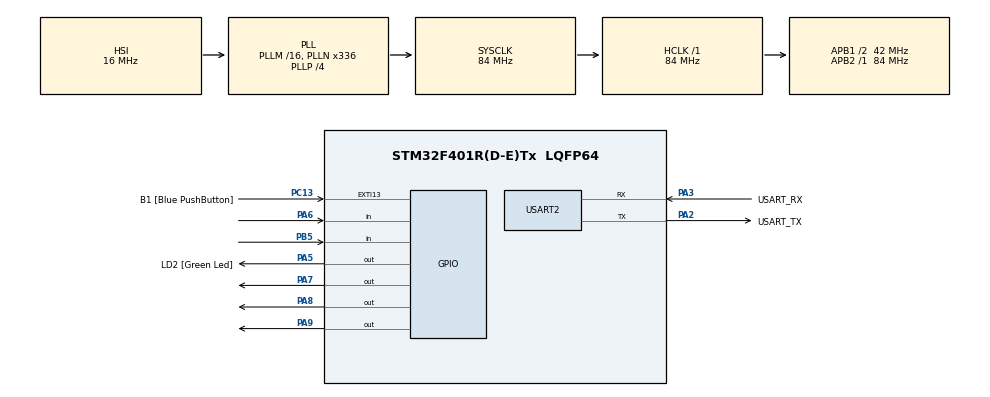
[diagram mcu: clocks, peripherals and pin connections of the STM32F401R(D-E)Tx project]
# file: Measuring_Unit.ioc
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FREERTOS.Queues01=accel_data,16,uint16_t,0,Dynamic,NULL,NULL
FREERTOS.Tasks01=read_accl,24,128,read_accl_function,Default,NULL,Dynamic,NULL,NULL;send_data,16,128,send_data_function,Default,NULL,Dynamic,NULL,NULL
Mcu.Family=STM32F4
Mcu.Name=STM32F401R(D-E)Tx
Mcu.Package=LQFP64
NVIC.PriorityGroup=NVIC_PRIORITYGROUP_4
NVIC.TIM5_IRQn=true\:15\:0\:false\:false\:true\:false\:false\:true\:true
NVIC.TimeBase=TIM5_IRQn
NVIC.TimeBaseIP=TIM5
PA13.GPIO_Label=TMS
PA13.Mode=Serial_Wire
PA13.Signal=SYS_JTMS-SWDIO
PA14.GPIO_Label=TCK
PA14.Mode=Serial_Wire
PA14.Signal=SYS_JTCK-SWCLK
PA2.GPIO_Label=USART_TX
PA2.GPIO_Mode=GPIO_MODE_AF_PP
PA2.GPIO_PuPd=GPIO_NOPULL
PA2.GPIO_Speed=GPIO_SPEED_FREQ_LOW
PA2.Mode=Asynchronous
PA2.Signal=USART2_TX
PA3.GPIO_Label=USART_RX
PA3.GPIO_Mode=GPIO_MODE_AF_PP
PA3.GPIO_PuPd=GPIO_NOPULL
PA3.GPIO_Speed=GPIO_SPEED_FREQ_LOW
PA3.Mode=Asynchronous
PA3.Signal=USART2_RX
PA5.GPIO_Label=LD2 [Green Led]
PA5.GPIO_Mode=GPIO_MODE_OUTPUT_PP
PA5.GPIO_PuPd=GPIO_NOPULL
PA5.GPIO_Speed=GPIO_SPEED_FREQ_LOW
PA5.Signal=GPIO_Output
PA6.Signal=GPIO_Input
PA7.Signal=GPIO_Output
PA8.GPIO_ModeDefaultOutputPP=GPIO_MODE_OUTPUT_OD
PA8.GPIO_PuPd=GPIO_NOPULL
PA8.Signal=GPIO_Output
PA9.Signal=GPIO_Output
PB3.GPIO_Label=SWO
PB3.Signal=SYS_JTDO-SWO
PB5.Signal=GPIO_Input
PC13-ANTI_TAMP.GPIO_Label=B1 [Blue PushButton]
PC13-ANTI_TAMP.GPIO_ModeDefaultEXTI=GPIO_MODE_IT_FALLING
PC13-ANTI_TAMP.GPIO_PuPd=GPIO_NOPULL
PC13-ANTI_TAMP.Signal=GPXTI13
PC14-OSC32_IN.Mode=LSE-External-Oscillator
PC14-OSC32_IN.Signal=RCC_OSC32_IN
PC15-OSC32_OUT.Mode=LSE-External-Oscillator
PC15-OSC32_OUT.Signal=RCC_OSC32_OUT
PH0\ -\ OSC_IN.Mode=HSE-External-Clock-Source
PH0\ -\ OSC_IN.Signal=RCC_OSC_IN
PH1\ -\ OSC_OUT.Mode=HSE-External-Clock-Source
PH1\ -\ OSC_OUT.Signal=RCC_OSC_OUT
ProjectManager.HeapSize=0x200
ProjectManager.StackSize=0x400
ProjectManager.TargetToolchain=STM32CubeIDE
RCC.48MHZClocksFreq_Value=48000000
RCC.AHBFreq_Value=84000000
RCC.APB1CLKDivider=RCC_HCLK_DIV2
RCC.APB1Freq_Value=42000000
RCC.APB1TimFreq_Value=84000000
RCC.APB2Freq_Value=84000000
RCC.APB2TimFreq_Value=84000000
RCC.CortexFreq_Value=84000000
RCC.HCLKFreq_Value=84000000
RCC.HSE_VALUE=8000000
RCC.HSI_VALUE=16000000
RCC.PLLN=336
RCC.PLLP=RCC_PLLP_DIV4
RCC.PLLQ=7
RCC.SYSCLKFreq_VALUE=84000000
RCC.SYSCLKSource=RCC_SYSCLKSOURCE_PLLCLK
RCC.VCOOutputFreq_Value=336000000
USART2.VirtualMode=VM_ASYNC
VP_FREERTOS_VS_CMSIS_V2.Mode=CMSIS_V2
VP_SYS_VS_tim5.Mode=TIM5
board=NUCLEO-F401RE

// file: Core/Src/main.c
/* USER CODE BEGIN Header */
/**
  ******************************************************************************
  * @file           : main.c
  * @brief          : Main program body
  ******************************************************************************
  * @attention
  *
  * Copyright (c) 2024 STMicroelectronics.
  * All rights reserved.
  *
  * This software is licensed under terms that can be found in the LICENSE file
  * in the root directory of this software component.
  * If no LICENSE file comes with this software, it is provided AS-IS.
  *
  ******************************************************************************
  */
/* USER CODE END Header */
#include "main.h"
#include "cmsis_os.h"

/* USER CODE BEGIN Includes */
#include "mpuDataCollection.h"
#include "uartCommunication.h"
#include <stdio.h>
#include "queue.h"
#include "FreeRTOS.h"
/* USER CODE END Includes */

UART_HandleTypeDef huart2;

/* Definitions for read_accl */
osThreadId_t read_acclHandle;
const osThreadAttr_t read_accl_attributes = {
  .name = "read_accl",
  .stack_size = 128 * 4,
  .priority = (osPriority_t) osPriorityNormal,
};
/* Definitions for send_data */
osThreadId_t send_dataHandle;
const osThreadAttr_t send_data_attributes = {
  .name = "send_data",
  .stack_size = 128 * 4,
  .priority = (osPriority_t) osPriorityBelowNormal,
};
/* Definitions for accel_data */
osMessageQueueId_t accel_dataHandle;
const osMessageQueueAttr_t accel_data_attributes = {
  .name = "accel_data"
};

void SystemClock_Config(void);
static void MX_GPIO_Init(void);
static void MX_USART2_UART_Init(void);
void read_accl_function(void *argument);
void send_data_function(void *argument);

/* USER CODE BEGIN 0 */

int __io_putchar(int ch)
{
/* Support printf over UART */
(void) HAL_UART_Transmit(&huart2, (uint8_t *) &ch, 1, 0xFFFFU);
 return ch;
}

QueueHandle_t accel_dataQueue;
/* USER CODE END 0 */

int main(void)
{

  /* MCU Configuration--------------------------------------------------------*/

  /* Reset of all peripherals, Initializes the Flash interface and the Systick. */
  HAL_Init();

  /* Configure the system clock */
  SystemClock_Config();

  /* Initialize all configured peripherals */
  MX_GPIO_Init();
  MX_USART2_UART_Init();
  /* USER CODE BEGIN 2 */
  int mpuDeviceAddress = 0x68; // first 7 bits of i2c data
  int acclZAxisRegisterBits15_8 = 0x3F; // 0x3f, 0x40
  int acclZAxisRegisterBits7_0 = 0x40;
  int powerRegister = 0x6B;

  int sda = GPIO_PIN_8; // D7 --> PA_8
  #define sdaType GPIOA

  int scl = GPIO_PIN_9; //D8 --> PA_9
  #define sclType GPIOA

  int read = GPIO_PIN_5; //D4 --> PB_5
  #define readType GPIOB

  int UART_TX_Pin = GPIO_PIN_7;
  #define txType GPIOA

  int delayTime = 1; // 1 ms

  int16_t acclZ = 0;
  float acclMS2 = 0;

  // uint8_t readVal = 0;

  // wake up MPU
  writeMPU(sdaType, sda, sclType, scl, readType, read, mpuDeviceAddress, powerRegister, 0, delayTime);

  accel_dataQueue = xQueueCreate(5, sizeof(int));

  /* USER CODE END 2 */

  /* Init scheduler */
  osKernelInitialize();

  /* Create the queue(s) */
  /* creation of accel_data */
  accel_dataHandle = osMessageQueueNew (16, sizeof(uint16_t), &accel_data_attributes);

  /* Create the thread(s) */
  /* creation of read_accl */
  read_acclHandle = osThreadNew(read_accl_function, NULL, &read_accl_attributes);

  /* creation of send_data */
  send_dataHandle = osThreadNew(send_data_function, NULL, &send_data_attributes);

  /* Start scheduler */
  osKernelStart();

  /* We should never get here as control is now taken by the scheduler */

  /* Infinite loop */
  while (1)
  {

  }
}

void SystemClock_Config(void)
{
  RCC_OscInitTypeDef RCC_OscInitStruct = {0};
  RCC_ClkInitTypeDef RCC_ClkInitStruct = {0};

  /** Configure the main internal regulator output voltage
  */
  __HAL_RCC_PWR_CLK_ENABLE();
  __HAL_PWR_VOLTAGESCALING_CONFIG(PWR_REGULATOR_VOLTAGE_SCALE2);

  /** Initializes the RCC Oscillators according to the specified parameters
  * in the RCC_OscInitTypeDef structure.
  */
  RCC_OscInitStruct.OscillatorType = RCC_OSCILLATORTYPE_HSI;
  RCC_OscInitStruct.HSIState = RCC_HSI_ON;
  RCC_OscInitStruct.HSICalibrationValue = RCC_HSICALIBRATION_DEFAULT;
  RCC_OscInitStruct.PLL.PLLState = RCC_PLL_ON;
  RCC_OscInitStruct.PLL.PLLSource = RCC_PLLSOURCE_HSI;
  RCC_OscInitStruct.PLL.PLLM = 16;
  RCC_OscInitStruct.PLL.PLLN = 336;
  RCC_OscInitStruct.PLL.PLLP = RCC_PLLP_DIV4;
  RCC_OscInitStruct.PLL.PLLQ = 7;
  if (HAL_RCC_OscConfig(&RCC_OscInitStruct) != HAL_OK)
  {
    Error_Handler();
  }

  /** Initializes the CPU, AHB and APB buses clocks
  */
  RCC_ClkInitStruct.ClockType = RCC_CLOCKTYPE_HCLK|RCC_CLOCKTYPE_SYSCLK
                              |RCC_CLOCKTYPE_PCLK1|RCC_CLOCKTYPE_PCLK2;
  RCC_ClkInitStruct.SYSCLKSource = RCC_SYSCLKSOURCE_PLLCLK;
  RCC_ClkInitStruct.AHBCLKDivider = RCC_SYSCLK_DIV1;
  RCC_ClkInitStruct.APB1CLKDivider = RCC_HCLK_DIV2;
  RCC_ClkInitStruct.APB2CLKDivider = RCC_HCLK_DIV1;

  if (HAL_RCC_ClockConfig(&RCC_ClkInitStruct, FLASH_LATENCY_2) != HAL_OK)
  {
    Error_Handler();
  }
}

static void MX_USART2_UART_Init(void)
{

  huart2.Instance = USART2;
  huart2.Init.BaudRate = 115200;
  huart2.Init.WordLength = UART_WORDLENGTH_8B;
  huart2.Init.StopBits = UART_STOPBITS_1;
  huart2.Init.Parity = UART_PARITY_NONE;
  huart2.Init.Mode = UART_MODE_TX_RX;
  huart2.Init.HwFlowCtl = UART_HWCONTROL_NONE;
  huart2.Init.OverSampling = UART_OVERSAMPLING_16;
  if (HAL_UART_Init(&huart2) != HAL_OK)
  {
    Error_Handler();
  }

}

static void MX_GPIO_Init(void)
{
  GPIO_InitTypeDef GPIO_InitStruct = {0};

  /* GPIO Ports Clock Enable */
  __HAL_RCC_GPIOC_CLK_ENABLE();
  __HAL_RCC_GPIOH_CLK_ENABLE();
  __HAL_RCC_GPIOA_CLK_ENABLE();
  __HAL_RCC_GPIOB_CLK_ENABLE();

  /*Configure GPIO pin Output Level */
  HAL_GPIO_WritePin(GPIOA, LD2_Pin|GPIO_PIN_7|GPIO_PIN_8|GPIO_PIN_9, GPIO_PIN_RESET);

  /*Configure GPIO pin : B1_Pin */
  GPIO_InitStruct.Pin = B1_Pin;
  GPIO_InitStruct.Mode = GPIO_MODE_IT_FALLING;
  GPIO_InitStruct.Pull = GPIO_NOPULL;
  HAL_GPIO_Init(B1_GPIO_Port, &GPIO_InitStruct);

  /*Configure GPIO pins : LD2_Pin PA7 PA9 */
  GPIO_InitStruct.Pin = LD2_Pin|GPIO_PIN_7|GPIO_PIN_9;
  GPIO_InitStruct.Mode = GPIO_MODE_OUTPUT_PP;
  GPIO_InitStruct.Pull = GPIO_NOPULL;
  GPIO_InitStruct.Speed = GPIO_SPEED_FREQ_LOW;
  HAL_GPIO_Init(GPIOA, &GPIO_InitStruct);

  /*Configure GPIO pin : PA6 */
  GPIO_InitStruct.Pin = GPIO_PIN_6;
  GPIO_InitStruct.Mode = GPIO_MODE_INPUT;
  GPIO_InitStruct.Pull = GPIO_NOPULL;
  HAL_GPIO_Init(GPIOA, &GPIO_InitStruct);

  /*Configure GPIO pin : PA8 */
  GPIO_InitStruct.Pin = GPIO_PIN_8;
  GPIO_InitStruct.Mode = GPIO_MODE_OUTPUT_OD;
  GPIO_InitStruct.Pull = GPIO_NOPULL;
  GPIO_InitStruct.Speed = GPIO_SPEED_FREQ_LOW;
  HAL_GPIO_Init(GPIOA, &GPIO_InitStruct);

  /*Configure GPIO pin : PB5 */
  GPIO_InitStruct.Pin = GPIO_PIN_5;
  GPIO_InitStruct.Mode = GPIO_MODE_INPUT;
  GPIO_InitStruct.Pull = GPIO_NOPULL;
  HAL_GPIO_Init(GPIOB, &GPIO_InitStruct);

}

void read_accl_function(void *argument)
{
  /* USER CODE BEGIN 5 */

  /* Infinite loop */
  for(;;)
  {

	  int mpuDeviceAddress = 0x68; // first 7 bits of i2c data
	    int acclZAxisRegisterBits15_8 = 0x3F; // 0x3f, 0x40
	    int acclZAxisRegisterBits7_0 = 0x40;
	    int powerRegister = 0x6B;

	    int sda = GPIO_PIN_8; // D7 --> PA_8
	    #define sdaType GPIOA

	    int scl = GPIO_PIN_9; //D8 --> PA_9
	    #define sclType GPIOA

	    int read = GPIO_PIN_5; //D4 --> PB_5
	    #define readType GPIOB

	    int delayTime = 1; // 1 ms

	    int16_t acclZ = 0;
	    float acclMS2 = 0;
	    int sendAccl=0;
	    int UART_TX_Pin = GPIO_PIN_7;
	    	  #define txType GPIOA
	  acclZ |= ((readMPU(sdaType, sda, sclType, scl, readType, read, mpuDeviceAddress, acclZAxisRegisterBits15_8, delayTime)) << 8);
	  acclZ |= readMPU(sdaType, sda, sclType, scl, readType, read, mpuDeviceAddress, acclZAxisRegisterBits7_0, delayTime);
	  acclMS2 = (float)(acclZ) / 16000.0 * 9.8;

	  printf("\n");
	  printf("%d\r\n", acclZ);

	  printf("\n");
	  printf("%d", (int) acclMS2);
	  printf(".");
	  printf("%d\r\n", ( (int)(acclMS2 * 10.0) ) % 10);

	  printf("\n");
	  sendAccl = (int) (10*acclMS2);

	  sendMsg(txType, UART_TX_Pin, sendAccl, 15, 10);

    osDelay(1);
  }
  /* USER CODE END 5 */
}

void send_data_function(void *argument)
{
  /* USER CODE BEGIN send_data_function */
	int receiveData=0;
  /* Infinite loop */
  for(;;)
  {
	  int UART_TX_Pin = GPIO_PIN_7;
	  #define txType GPIOA

//		  sendMsg(txType, UART_TX_Pin, receiveData, 15, 10);

    osDelay(1);
  }
  /* USER CODE END send_data_function */
}

void HAL_TIM_PeriodElapsedCallback(TIM_HandleTypeDef *htim)
{
  if (htim->Instance == TIM5) {
    HAL_IncTick();
  }
}

void Error_Handler(void)
{
  __disable_irq();
  while (1)
  {
  }
}
